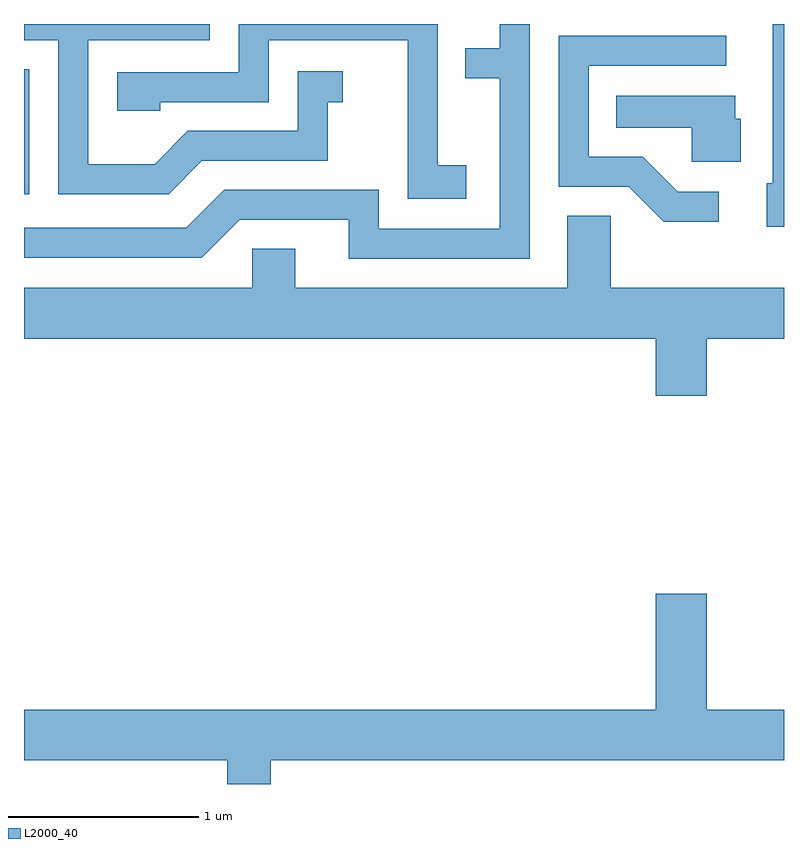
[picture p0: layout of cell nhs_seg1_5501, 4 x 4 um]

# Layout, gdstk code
import gdstk
lib = gdstk.Library(unit=1e-6, precision=1e-09)
def R(c, l, rs):  # rectangles x0, y0, x1, y1
    for r in rs: c.add(gdstk.rectangle(r[:2], r[2:], *l))
def P(c, l, *ps):  # polygons
    for p in ps: c.add(gdstk.Polygon(p, *l))
L2000_40 = (2000, 40)

nhs_seg1_5501 = lib.new_cell('nhs_seg1_5501')
R(nhs_seg1_5501, L2000_40, [(351.611,864.816,351.639,865.474)])
P(nhs_seg1_5501, L2000_40, [(353.939,864.969),(353.789,864.969),(353.789,865.712),(352.741,865.712),(352.741,865.459),(352.101,865.459),(352.101,865.256),(352.329,865.256),(352.329,865.301),(352.899,865.301),(352.899,865.626),(353.631,865.626),(353.631,864.791),(353.939,864.791)],
  [(352.547,864.991),(353.209,864.991),(353.209,865.301),(353.288,865.301),(353.288,865.464),(353.051,865.464),(353.051,865.149),(352.474,865.149),(352.299,864.974),(351.949,864.974),(351.949,865.626),(352.589,865.626),(352.589,865.712),(351.611,865.712),(351.611,865.626),(351.791,865.626),(351.791,864.816),(352.372,864.816)],
  [(354.274,865.712),(354.116,865.712),(354.116,865.584),(353.933,865.584),(353.933,865.426),(354.116,865.426),(354.116,864.634),(353.479,864.634),(353.479,864.839),(352.664,864.839),(352.464,864.639),(351.611,864.639),(351.611,864.481),(352.547,864.481),(352.747,864.681),(353.321,864.681),(353.321,864.476),(354.274,864.476)],
  [(355.611,865.712),(355.551,865.712),(355.551,864.874),(355.521,864.874),(355.521,864.646),(355.611,864.646)],
  [(355.268,864.829),(355.052,864.829),(354.867,865.014),(354.584,865.014),(354.584,865.491),(355.308,865.491),(355.308,865.649),(354.426,865.649),(354.426,864.856),(354.794,864.856),(354.979,864.671),(355.268,864.671)],
  [(355.384,865.214),(355.354,865.214),(355.354,865.334),(354.728,865.334),(354.728,865.166),(355.126,865.166),(355.126,864.986),(355.384,864.986)],
  [(355.204,864.056),(355.611,864.056),(355.611,864.324),(354.699,864.324),(354.699,864.704),(354.471,864.704),(354.471,864.324),(353.039,864.324),(353.039,864.529),(352.811,864.529),(352.811,864.324),(351.611,864.324),(351.611,864.056),(354.936,864.056),(354.936,863.756),(355.204,863.756)],
  [(351.611,861.836),(352.681,861.836),(352.681,861.712),(352.909,861.712),(352.909,861.836),(355.611,861.836),(355.611,862.104),(355.204,862.104),(355.204,862.714),(354.936,862.714),(354.936,862.104),(351.611,862.104)])

lib.write_gds('nhs_seg1_5501.gds')
